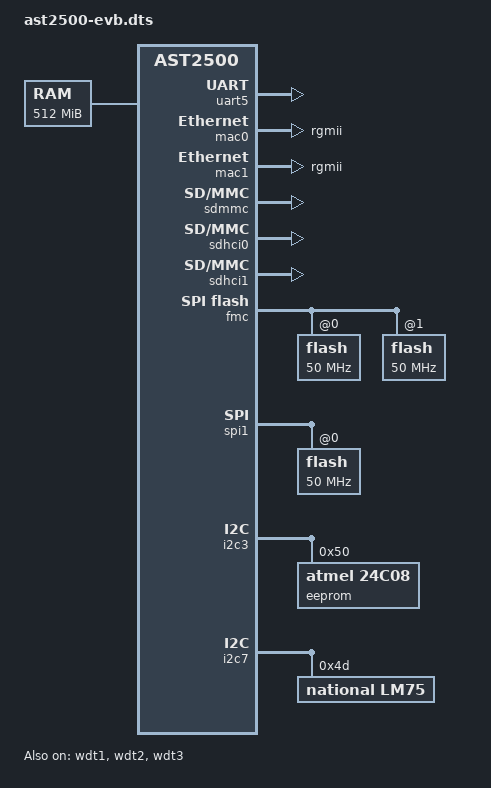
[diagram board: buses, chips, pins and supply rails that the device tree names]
/dts-v1/;

#include "ast2500-u-boot.dtsi"

/ {
	memory {
		device_type = "memory";
		reg = <0x80000000 0x20000000>;
	};

	chosen {
		stdout-path = &uart5;
	};

	aliases {
		ethernet0 = &mac0;
		ethernet1 = &mac1;
	};
};

&uart5 {
	bootph-all;
	status = "okay";
};

&sdrammc {
	clock-frequency = <400000000>;
};

&wdt1 {
	bootph-all;
	status = "okay";
};

&wdt2 {
	bootph-all;
	status = "okay";
};

&wdt3 {
	bootph-all;
	status = "okay";
};

&mac0 {
	status = "okay";

	phy-mode = "rgmii";

	pinctrl-names = "default";
	pinctrl-0 = <&pinctrl_mac1link_default &pinctrl_mdio1_default>;
};

&mac1 {
	status = "okay";

	phy-mode = "rgmii";

	pinctrl-names = "default";
	pinctrl-0 = <&pinctrl_mac2link_default &pinctrl_mdio2_default>;
};

&sdmmc {
	status = "okay";
};

&sdhci0 {
	status = "okay";

	pinctrl-names = "default";
	pinctrl-0 = <&pinctrl_sd1_default>;
};

&sdhci1 {
	status = "okay";

	pinctrl-names = "default";
	pinctrl-0 = <&pinctrl_sd2_default>;
};

&fmc {
	status = "okay";
	pinctrl-names = "default";
	pinctrl-0 = <&pinctrl_fwspics1_default>;

	flash@0 {
		status = "okay";
		spi-max-frequency = <50000000>;
		spi-tx-bus-width = <2>;
		spi-rx-bus-width = <2>;
	};

	flash@1 {
		status = "okay";
		spi-max-frequency = <50000000>;
		spi-tx-bus-width = <2>;
		spi-rx-bus-width = <2>;
	};
};

&spi1 {
	status = "okay";
	pinctrl-names = "default";
	pinctrl-0 = <&pinctrl_spi1cs1_default>;

	flash@0 {
		status = "okay";
		spi-max-frequency = <50000000>;
		spi-tx-bus-width = <2>;
		spi-rx-bus-width = <2>;
	};
};

&i2c3 {
        status = "okay";

        eeprom@50 {
                compatible = "atmel,24c08";
                reg = <0x50>;
                pagesize = <16>;
        };
};

&i2c7 {
	status = "okay";

        lm75@4d {
                compatible = "national,lm75";
                reg = <0x4d>;
        };
};
